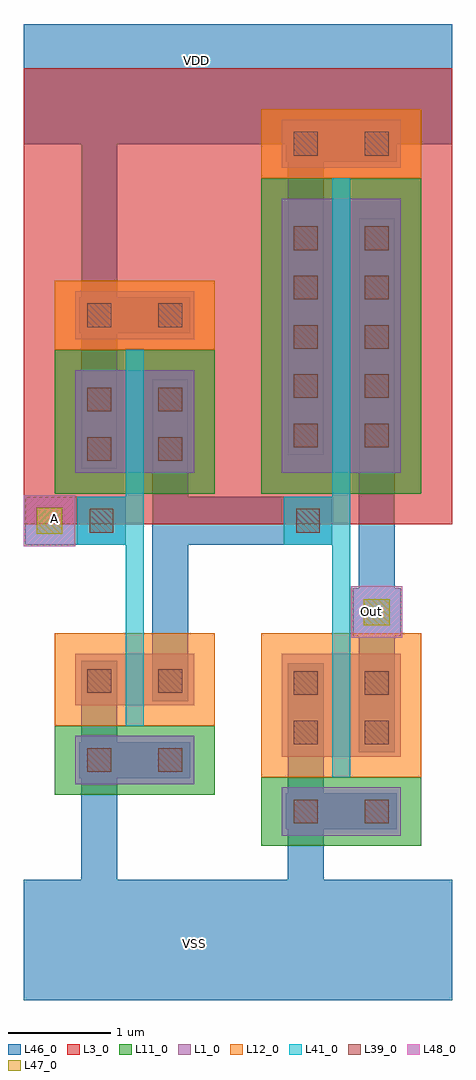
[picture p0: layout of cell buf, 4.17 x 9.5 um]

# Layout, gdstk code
import gdstk
lib = gdstk.Library(unit=1e-6, precision=1e-09)
def R(c, l, rs):  # rectangles x0, y0, x1, y1
    for r in rs: c.add(gdstk.rectangle(r[:2], r[2:], *l))
def A(c, l, x, y, w, h, nx, ny, dx, dy):  # array of equal rectangles
    R(c, l, [(x+i*dx, y+j*dy, x+i*dx+w, y+j*dy+h) for i in range(nx) for j in range(ny)])
L1_0 = (1, 0)
L3_0 = (3, 0)
L11_0 = (11, 0)
L12_0 = (12, 0)
L39_0 = (39, 0)
L41_0 = (41, 0)
L46_0 = (46, 0)
L47_0 = (47, 0)
L48_0 = (48, 0)

buf = lib.new_cell('buf')
R(buf, L1_0, [(-5.405,3.04,-4.245,3.51), (-7.415,3.54,-6.255,4.01), (-5.405,3.81,-4.245,4.81), (-7.415,4.31,-6.255,4.81), (-7.415,6.57,-6.255,7.57), (-5.405,6.57,-4.245,9.24), (-7.415,7.87,-6.255,8.34), (-5.405,9.54,-4.245,10.01)])
R(buf, L3_0, [(-7.915,6.07,-3.745,10.51)])
R(buf, L11_0, [(-5.605,2.94,-4.045,3.61), (-7.615,3.44,-6.055,4.11), (-7.615,6.37,-6.055,7.77), (-5.605,6.37,-4.045,9.44)])
R(buf, L12_0, [(-5.605,3.61,-4.045,5.01), (-7.615,4.11,-6.055,5.01), (-7.615,7.77,-6.055,8.44), (-5.605,9.44,-4.045,10.11)])
A(buf, L39_0, -5.285, 6.82, 0.23, 0.23, 1, 5, 0, 0.48)
A(buf, L39_0, -4.595, 6.82, 0.23, 0.23, 1, 5, 0, 0.48)
R(buf, L39_0, [(-5.285,3.16,-5.055,3.39), (-4.595,3.16,-4.365,3.39), (-7.295,3.66,-7.065,3.89), (-6.605,3.66,-6.375,3.89), (-5.285,3.93,-5.055,4.16), (-4.595,3.93,-4.365,4.16), (-5.285,4.41,-5.055,4.64), (-4.595,4.41,-4.365,4.64), (-7.295,4.43,-7.065,4.66), (-6.605,4.43,-6.375,4.66), (-7.275,5.99,-7.045,6.22), (-5.265,5.99,-5.035,6.22), (-7.295,6.69,-7.065,6.92), (-6.605,6.69,-6.375,6.92), (-7.295,7.17,-7.065,7.4), (-6.605,7.17,-6.375,7.4), (-7.295,7.99,-7.065,8.22), (-6.605,7.99,-6.375,8.22), (-5.285,9.66,-5.055,9.89), (-4.595,9.66,-4.365,9.89)])
R(buf, L41_0, [(-4.915,3.61,-4.735,9.44), (-6.925,4.11,-6.745,7.77), (-7.395,5.87,-6.745,6.34), (-5.385,5.87,-4.735,6.34)])
R(buf, L46_0, [(-7.915,1.44,-3.745,2.61), (-7.355,2.39,-7.005,4.74), (-5.345,2.39,-4.995,4.72), (-5.365,3.1,-4.285,3.45), (-7.375,3.6,-6.295,3.95), (-4.655,3.85,-4.305,9.05), (-6.665,4.35,-6.315,7.48), (-4.715,4.98,-4.245,5.45), (-7.9,5.87,-6.925,6.34), (-6.465,5.87,-4.915,6.34), (-7.355,6.61,-7.005,9.99), (-5.345,6.74,-4.995,9.99), (-7.375,7.93,-6.295,8.28), (-5.365,9.6,-4.285,9.95), (-7.915,9.77,-3.745,10.94)])
R(buf, L47_0, [(-4.605,5.09,-4.355,5.34), (-7.79,5.98,-7.54,6.23)])
R(buf, L48_0, [(-4.73,4.965,-4.23,5.465), (-7.915,5.855,-7.415,6.355)])
buf.add(gdstk.Label('VSS', (-6.25,1.99), layer=101, texttype=0))
buf.add(gdstk.Label('VDD', (-6.23,10.58), layer=101, texttype=0))
buf.add(gdstk.Label('A', (-7.615,6.13), layer=102, texttype=0))
buf.add(gdstk.Label('Out', (-4.535,5.22), layer=102, texttype=0))

lib.write_gds('buf.gds')
